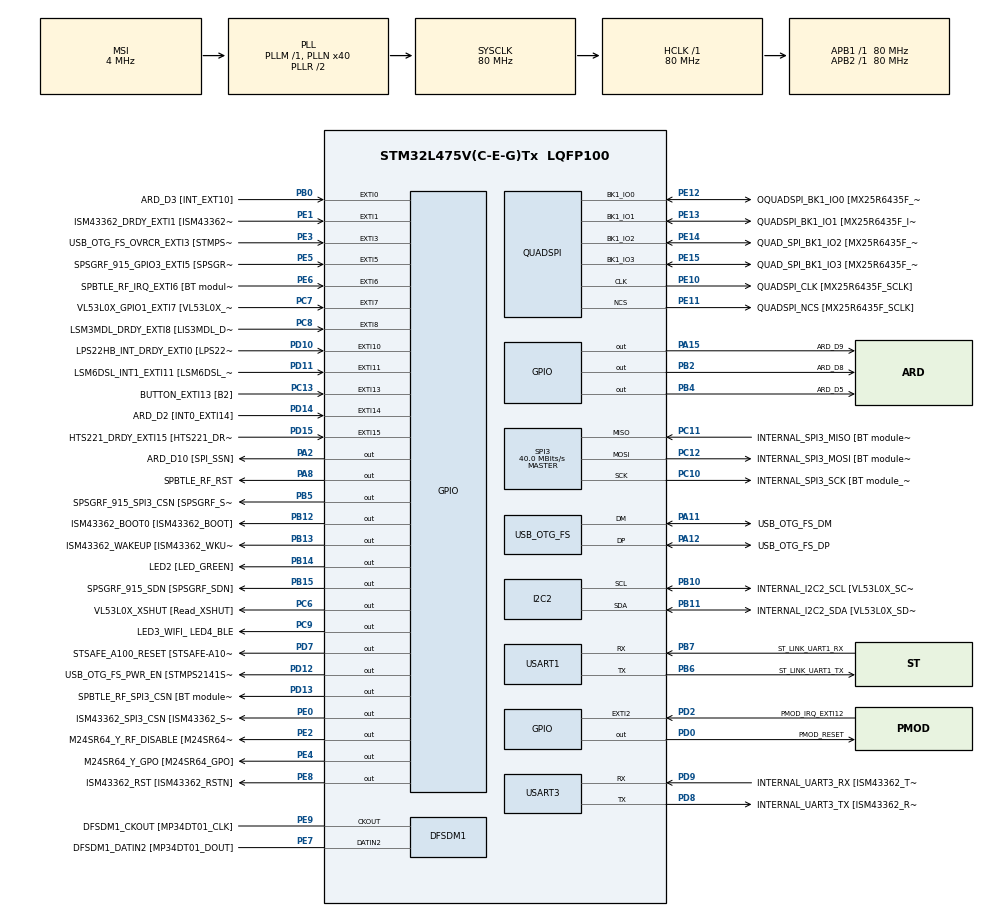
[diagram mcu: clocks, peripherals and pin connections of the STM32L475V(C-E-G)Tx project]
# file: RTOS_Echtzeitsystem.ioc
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Mcu.Family=STM32L4
Mcu.Name=STM32L475V(C-E-G)Tx
Mcu.Package=LQFP100
NVIC.EXTI15_10_IRQn=true\:0\:0\:false\:false\:true\:true\:true\:true
NVIC.EXTI9_5_IRQn=true\:0\:0\:false\:false\:true\:true\:true\:true
NVIC.PriorityGroup=NVIC_PRIORITYGROUP_4
PA0.GPIO_Label=ARD_D1 [UART4_TX]
PA0.Signal=UART4_TX
PA1.GPIO_Label=ARD_D0 [UART4_RX]
PA1.Signal=UART4_RX
PA10.GPIO_Label=USB_OTG_FS_ID
PA10.Signal=USB_OTG_FS_ID
PA11.GPIO_Label=USB_OTG_FS_DM
PA11.Mode=Device_Only
PA11.Signal=USB_OTG_FS_DM
PA12.GPIO_Label=USB_OTG_FS_DP
PA12.Mode=Device_Only
PA12.Signal=USB_OTG_FS_DP
PA13\ (JTMS-SWDIO).GPIO_Label=SYS_JTMS_SWDIO
PA13\ (JTMS-SWDIO).Mode=Serial_Wire
PA13\ (JTMS-SWDIO).Signal=SYS_JTMS-SWDIO
PA14\ (JTCK-SWCLK).GPIO_Label=SYS_JTCK_SWCLK
PA14\ (JTCK-SWCLK).Mode=Serial_Wire
PA14\ (JTCK-SWCLK).Signal=SYS_JTCK-SWCLK
PA15\ (JTDI).GPIO_Label=ARD_D9
PA15\ (JTDI).Signal=GPIO_Output
PA2.GPIO_Label=ARD_D10 [SPI_SSN]
PA2.Signal=GPIO_Output
PA3.GPIO_Label=ARD_D4
PA3.Signal=S_TIM2_CH4
PA4.GPIO_Label=ARD_D7
PA4.Signal=ADCx_IN9
PA5.GPIO_Label=ARD_D13 [SPI1_SCK]
PA5.Signal=SPI1_SCK
PA6.GPIO_Label=ARD_D12 [SPI1_MISO]
PA6.Signal=SPI1_MISO
PA7.GPIO_Label=ARD_D11 [SPI1_MOSI]
PA7.Signal=SPI1_MOSI
PA8.GPIO_Label=SPBTLE_RF_RST
PA8.Signal=GPIO_Output
PA9.GPIO_Label=USB_OTG_FS_VBUS [STMPS2141STR_OUT]
PA9.Signal=USB_OTG_FS_VBUS
PB0.GPIO_Label=ARD_D3 [INT_EXT10]
PB0.Signal=GPXTI0
PB1.GPIO_Label=ARD_D6 [ADC1_IN6]
PB1.Signal=ADCx_IN16
PB10.GPIO_Label=INTERNAL_I2C2_SCL [VL53L0X_SCL]
PB10.GPIO_Pu=GPIO_PULLUP
PB10.Mode=I2C
PB10.Signal=I2C2_SCL
PB11.GPIO_Label=INTERNAL_I2C2_SDA [VL53L0X_SDA]
PB11.GPIO_Pu=GPIO_PULLUP
PB11.Mode=I2C
PB11.Signal=I2C2_SDA
PB12.GPIO_Label=ISM43362_BOOT0 [ISM43362_BOOT]
PB12.Signal=GPIO_Output
PB13.GPIO_Label=ISM43362_WAKEUP [ISM43362_WKUP]
PB13.Signal=GPIO_Output
PB14.GPIO_Label=LED2 [LED_GREEN]
PB14.Signal=GPIO_Output
PB15.GPIO_Label=SPSGRF_915_SDN [SPSGRF_SDN]
PB15.Signal=GPIO_Output
PB2.GPIO_Label=ARD_D8
PB2.Signal=GPIO_Output
PB3\ (JTDO-TRACESWO).GPIO_Label=SYS_JTD0_SWO
PB3\ (JTDO-TRACESWO).Signal=SYS_JTDO-SWO
PB4\ (NJTRST).GPIO_Label=ARD_D5
PB4\ (NJTRST).Signal=GPIO_Output
PB5.GPIO_Label=SPSGRF_915_SPI3_CSN [SPSGRF_SPI_CS]
PB5.PinState=GPIO_PIN_SET
PB5.Signal=GPIO_Output
PB6.GPIO_Label=ST_LINK_UART1_TX
PB6.Mode=Asynchronous
PB6.Signal=USART1_TX
PB7.GPIO_Label=ST_LINK_UART1_RX
PB7.Mode=Asynchronous
PB7.Signal=USART1_RX
PB8.GPIO_Label=ARD_D15 [I2C1_SCL]
PB8.Signal=I2C1_SCL
PB9.GPIO_Label=ARD_D14 [I2C1_SDA]
PB9.Signal=I2C1_SDA
PC0.GPIO_Label=ARD_A5 [ADC]
PC0.Signal=ADCx_IN1
PC1.GPIO_Label=ARD_A4 [ADC]
PC1.Signal=ADCx_IN2
PC10.GPIO_Label=INTERNAL_SPI3_SCK [BT module_SPI_SCLK] [ISM43362_SCK]
PC10.Mode=Full_Duplex_Master
PC10.Signal=SPI3_SCK
PC11.GPIO_Label=INTERNAL_SPI3_MISO [BT module_SPI_MISO] [ISM43362_MISO]
PC11.Mode=Full_Duplex_Master
PC11.Signal=SPI3_MISO
PC12.GPIO_Label=INTERNAL_SPI3_MOSI [BT module_SPI_MOSI] [ISM43362_MOSI]
PC12.Mode=Full_Duplex_Master
PC12.Signal=SPI3_MOSI
PC13.GPIO_Label=BUTTON_EXTI13 [B2]
PC13.GPIO_ModeDefaultEXTI=GPIO_MODE_IT_FALLING
PC13.Signal=GPXTI13
PC14-OSC32_IN\ (PC14).Mode=LSE-External-Oscillator
PC14-OSC32_IN\ (PC14).Signal=RCC_OSC32_IN
PC15-OSC32_OUT\ (PC15).Mode=LSE-External-Oscillator
PC15-OSC32_OUT\ (PC15).Signal=RCC_OSC32_OUT
PC2.GPIO_Label=ARD_A3 [ADC]
PC2.Signal=ADCx_IN3
PC3.GPIO_Label=ARD_A2 [ADC]
PC3.Signal=ADCx_IN4
PC4.GPIO_Label=ARD_A1 [ADC]
PC4.Signal=ADCx_IN13
PC5.GPIO_Label=ARD_A0 [ADC]
PC5.Signal=ADCx_IN14
PC6.GPIO_Label=VL53L0X_XSHUT [Read_XSHUT]
PC6.Signal=GPIO_Output
PC7.GPIO_Label=VL53L0X_GPIO1_EXTI7 [VL53L0X_GPIO1]
PC7.Signal=GPXTI7
PC8.GPIO_Label=LSM3MDL_DRDY_EXTI8 [LIS3MDL_DRDY]
PC8.Signal=GPXTI8
PC9.GPIO_Label=LED3_WIFI_ LED4_BLE
PC9.Signal=GPIO_Output
PD0.GPIO_Label=PMOD_RESET
PD0.Signal=GPIO_Output
PD1.GPIO_Label=PMOD_SPI2_SCK
PD1.Signal=SPI2_SCK
PD10.GPIO_Label=LPS22HB_INT_DRDY_EXTI0 [LPS22HB_INT_DRDY] 
PD10.Signal=GPXTI10
PD11.GPIO_Label=LSM6DSL_INT1_EXTI11 [LSM6DSL_INT1]
PD11.Signal=GPXTI11
PD12.GPIO_Label=USB_OTG_FS_PWR_EN [STMPS2141STR_EN]
PD12.Signal=GPIO_Output
PD13.GPIO_Label=SPBTLE_RF_SPI3_CSN [BT module_SPI_CS]
PD13.PinState=GPIO_PIN_SET
PD13.Signal=GPIO_Output
PD14.GPIO_Label=ARD_D2 [INT0_EXTI14]
PD14.Signal=GPXTI14
PD15.GPIO_Label=HTS221_DRDY_EXTI15 [HTS221_DRDY]
PD15.Signal=GPXTI15
PD2.GPIO_Label=PMOD_IRQ_EXTI12
PD2.Signal=GPXTI2
PD3.GPIO_Label=PMOD_UART2_CTS
PD3.Signal=USART2_CTS
PD4.GPIO_Label=PMOD_UART2_RTS
PD4.Signal=USART2_RTS
PD5.GPIO_Label=PMOD_UART2_TX
PD5.Signal=USART2_TX
PD6.GPIO_Label=PMOD_UART2_RX
PD6.Signal=USART2_RX
PD7.GPIO_Label=STSAFE_A100_RESET [STSAFE-A100_RESET]
PD7.Signal=GPIO_Output
PD8.GPIO_Label=INTERNAL_UART3_TX [ISM43362_RX]
PD8.Mode=Asynchronous
PD8.Signal=USART3_TX
PD9.GPIO_Label=INTERNAL_UART3_RX [ISM43362_TX]
PD9.Mode=Asynchronous
PD9.Signal=USART3_RX
PE0.GPIO_Label=ISM43362_SPI3_CSN [ISM43362_SSN]
PE0.PinState=GPIO_PIN_SET
PE0.Signal=GPIO_Output
PE1.GPIO_Label=ISM43362_DRDY_EXTI1 [ISM43362_DATARDY]
PE1.Signal=GPXTI1
PE10.GPIO_Label=QUADSPI_CLK [MX25R6435F_SCLK]
PE10.Mode=Single Bank
PE10.Signal=QUADSPI_CLK
PE11.GPIO_Label=QUADSPI_NCS [MX25R6435F_SCLK]
PE11.Mode=Single Bank
PE11.Signal=QUADSPI_NCS
PE12.GPIO_Label=OQUADSPI_BK1_IO0 [MX25R6435F_IO0]
PE12.Mode=Single Bank
PE12.Signal=QUADSPI_BK1_IO0
PE13.GPIO_Label=QUADSPI_BK1_IO1 [MX25R6435F_IO1]
PE13.Mode=Single Bank
PE13.Signal=QUADSPI_BK1_IO1
PE14.GPIO_Label=QUAD_SPI_BK1_IO2 [MX25R6435F_IO2]
PE14.Mode=Single Bank
PE14.Signal=QUADSPI_BK1_IO2
PE15.GPIO_Label=QUAD_SPI_BK1_IO3 [MX25R6435F_IO3]
PE15.Mode=Single Bank
PE15.Signal=QUADSPI_BK1_IO3
PE2.GPIO_Label=M24SR64_Y_RF_DISABLE [M24SR64_RFDIS]
PE2.Signal=GPIO_Output
PE3.GPIO_Label=USB_OTG_FS_OVRCR_EXTI3 [STMPS2141STR_FAULT]
PE3.Signal=GPXTI3
PE4.GPIO_Label=M24SR64_Y_GPO [M24SR64_GPO]
PE4.Signal=GPIO_Output
PE5.GPIO_Label=SPSGRF_915_GPIO3_EXTI5 [SPSGRF_GPIO_3]
PE5.Signal=GPXTI5
PE6.GPIO_Label=SPBTLE_RF_IRQ_EXTI6 [BT module_SPI_IRQ]
PE6.Signal=GPXTI6
PE7.GPIO_Label=DFSDM1_DATIN2 [MP34DT01_DOUT]
PE7.Signal=S_DATAIN2DFSDM1
PE8.GPIO_Label=ISM43362_RST [ISM43362_RSTN]
PE8.Signal=GPIO_Output
PE9.GPIO_Label=DFSDM1_CKOUT [MP34DT01_CLK]
PE9.Signal=S_CKOUTDFSDM1
ProjectManager.HeapSize=0x200
ProjectManager.StackSize=0x400
ProjectManager.TargetToolchain=STM32CubeIDE
QUADSPI.ClockPrescaler=2
QUADSPI.FifoThreshold=4
QUADSPI.FlashSize=23
QUADSPI.SampleShifting=QSPI_SAMPLE_SHIFTING_HALFCYCLE
RCC.ADCFreq_Value=48000000
RCC.AHBFreq_Value=80000000
RCC.APB1Freq_Value=80000000
RCC.APB1TimFreq_Value=80000000
RCC.APB2Freq_Value=80000000
RCC.APB2TimFreq_Value=80000000
RCC.CortexFreq_Value=80000000
RCC.HCLKFreq_Value=80000000
RCC.HSE_VALUE=8000000
RCC.HSI_VALUE=16000000
RCC.MSI_VALUE=4000000
RCC.PLLN=40
RCC.PLLSAI1N=24
RCC.SYSCLKFreq_VALUE=80000000
RCC.SYSCLKSource=RCC_SYSCLKSOURCE_PLLCLK
RCC.USBFreq_Value=48000000
RCC.VCOOutputFreq_Value=160000000
SH.ADCx_IN1.0=ADC1_IN1
SH.ADCx_IN13.0=ADC1_IN13
SH.ADCx_IN14.0=ADC1_IN14
SH.ADCx_IN16.0=ADC1_IN16
SH.ADCx_IN2.0=ADC1_IN2
SH.ADCx_IN3.0=ADC1_IN3
SH.ADCx_IN4.0=ADC1_IN4
SH.ADCx_IN9.0=ADC1_IN9
SH.S_CKOUTDFSDM1.0=DFSDM1_CKOUT,CKOUT
SH.S_CKOUTDFSDM1.1=DFSDM1_CKOUT,PDM_SPI_Input_from_ch12_and_Internal_Clock
SH.S_DATAIN2DFSDM1.0=DFSDM1_DATIN2,PDM_SPI_Input_from_ch12_and_Internal_Clock
SH.S_TIM2_CH4.0=TIM2_CH4
SPI3.CalculateBaudRate=40.0 MBits/s
SPI3.Direction=SPI_DIRECTION_2LINES
SPI3.Mode=SPI_MODE_MASTER
SPI3.VirtualType=VM_MASTER
USART1.VirtualMode-Asynchronous=VM_ASYNC
USART3.VirtualMode-Asynchronous=VM_ASYNC
USB_OTG_FS.VirtualMode=Device_Only
board=B-L475E-IOT01A1

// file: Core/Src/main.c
/* USER CODE BEGIN Header */
/**
  ******************************************************************************
  * @file           : main.c
  * @brief          : Main program body
  ******************************************************************************
  * @attention
  *
  * Copyright (c) 2026 STMicroelectronics.
  * All rights reserved.
  *
  * This software is licensed under terms that can be found in the LICENSE file
  * in the root directory of this software component.
  * If no LICENSE file comes with this software, it is provided AS-IS.
  *
  ******************************************************************************
  */
/* USER CODE END Header */
#include "main.h"

/* USER CODE BEGIN Includes */
#include "stm32l4xx.h"
#include "os_kernel.h"
#include "tcb.h"
#include "Mutex_and_Semaphoren.h"
#include"MessageQueue.h"
#include "os_sync.h"
/* USER CODE END Includes */

uint32_t MAX_TASKS = 3;

DFSDM_Channel_HandleTypeDef hdfsdm1_channel1;

I2C_HandleTypeDef hi2c2;

QSPI_HandleTypeDef hqspi;

SPI_HandleTypeDef hspi3;

UART_HandleTypeDef huart1;
UART_HandleTypeDef huart3;

PCD_HandleTypeDef hpcd_USB_OTG_FS;

void SystemClock_Config(void);
static void MX_GPIO_Init(void);
static void MX_DFSDM1_Init(void);
static void MX_I2C2_Init(void);
static void MX_QUADSPI_Init(void);
static void MX_SPI3_Init(void);
static void MX_USART1_UART_Init(void);
static void MX_USART3_UART_Init(void);
//static void MX_USB_OTG_FS_PCD_Init(void);

/* USER CODE BEGIN 0 */
// --- TASK 1: Grüne LED ---
void Task_BlinkGreen(){
	while(1){
		HAL_GPIO_TogglePin(GPIOB,GPIO_PIN_14);
		OS_Delay(2000); // Non-Blocking

		//for(volatile uint32_t i = 0; i < 500000; i++) {}   // Es dient zur Wartezeit ( Blocking)
	}
}

// --- TASK 2: Orange LED ---
void Task_BlinkRed(){
	while(1){
		HAL_GPIO_TogglePin(GPIOC, GPIO_PIN_9);
		OS_Delay(5000);    // Non-Blocking
		//for(volatile uint32_t i = 0; i < 500000; i++) {}
	}
}
// --- IDLE Task ---
void Task_Idle(void) {
    while(1) {
    	__WFI(); // Wait for Interrupt
    }
}

/* USER CODE END 0 */

int main(void)
{

  /* MCU Configuration--------------------------------------------------------*/

  /* Reset of all peripherals, Initializes the Flash interface and the Systick. */
  HAL_Init();

  /* Configure the system clock */
  SystemClock_Config();

  /* Initialize all configured peripherals */
  MX_GPIO_Init();
  MX_DFSDM1_Init();
  MX_I2C2_Init();
  MX_QUADSPI_Init();
  MX_SPI3_Init();
  MX_USART1_UART_Init();
  MX_USART3_UART_Init();
  //MX_USB_OTG_FS_PCD_Init();
  /* USER CODE BEGIN 2 */
  //Tasks beim Betriebssystem anmelden, Priorität und TaskId angeben
  	  OS_TaskCreate(Task_BlinkGreen, 0, 0);
  	  OS_TaskCreate(Task_BlinkRed, 0, 1);

      OS_TaskCreate(Task_Idle, 255, MAX_TASKS-1);

      // Kernel starten
        OS_KernelStart();

  /* USER CODE END 2 */

  /* Infinite loop */
  while (1)
  {

  }
}

void SystemClock_Config(void)
{
  RCC_OscInitTypeDef RCC_OscInitStruct = {0};
  RCC_ClkInitTypeDef RCC_ClkInitStruct = {0};

  /** Configure the main internal regulator output voltage
  */
  if (HAL_PWREx_ControlVoltageScaling(PWR_REGULATOR_VOLTAGE_SCALE1) != HAL_OK)
  {
    Error_Handler();
  }

  /** Configure LSE Drive Capability
  */
  HAL_PWR_EnableBkUpAccess();
  __HAL_RCC_LSEDRIVE_CONFIG(RCC_LSEDRIVE_LOW);

  /** Initializes the RCC Oscillators according to the specified parameters
  * in the RCC_OscInitTypeDef structure.
  */
  RCC_OscInitStruct.OscillatorType = RCC_OSCILLATORTYPE_LSE|RCC_OSCILLATORTYPE_MSI;
  RCC_OscInitStruct.LSEState = RCC_LSE_ON;
  RCC_OscInitStruct.MSIState = RCC_MSI_ON;
  RCC_OscInitStruct.MSICalibrationValue = 0;
  RCC_OscInitStruct.MSIClockRange = RCC_MSIRANGE_6;
  RCC_OscInitStruct.PLL.PLLState = RCC_PLL_ON;
  RCC_OscInitStruct.PLL.PLLSource = RCC_PLLSOURCE_MSI;
  RCC_OscInitStruct.PLL.PLLM = 1;
  RCC_OscInitStruct.PLL.PLLN = 40;
  RCC_OscInitStruct.PLL.PLLP = RCC_PLLP_DIV7;
  RCC_OscInitStruct.PLL.PLLQ = RCC_PLLQ_DIV2;
  RCC_OscInitStruct.PLL.PLLR = RCC_PLLR_DIV2;
  if (HAL_RCC_OscConfig(&RCC_OscInitStruct) != HAL_OK)
  {
    Error_Handler();
  }

  /** Initializes the CPU, AHB and APB buses clocks
  */
  RCC_ClkInitStruct.ClockType = RCC_CLOCKTYPE_HCLK|RCC_CLOCKTYPE_SYSCLK
                              |RCC_CLOCKTYPE_PCLK1|RCC_CLOCKTYPE_PCLK2;
  RCC_ClkInitStruct.SYSCLKSource = RCC_SYSCLKSOURCE_PLLCLK;
  RCC_ClkInitStruct.AHBCLKDivider = RCC_SYSCLK_DIV1;
  RCC_ClkInitStruct.APB1CLKDivider = RCC_HCLK_DIV1;
  RCC_ClkInitStruct.APB2CLKDivider = RCC_HCLK_DIV1;

  if (HAL_RCC_ClockConfig(&RCC_ClkInitStruct, FLASH_LATENCY_4) != HAL_OK)
  {
    Error_Handler();
  }

  /** Enable MSI Auto calibration
  */
  HAL_RCCEx_EnableMSIPLLMode();
}

static void MX_DFSDM1_Init(void)
{

  hdfsdm1_channel1.Instance = DFSDM1_Channel1;
  hdfsdm1_channel1.Init.OutputClock.Activation = ENABLE;
  hdfsdm1_channel1.Init.OutputClock.Selection = DFSDM_CHANNEL_OUTPUT_CLOCK_SYSTEM;
  hdfsdm1_channel1.Init.OutputClock.Divider = 2;
  hdfsdm1_channel1.Init.Input.Multiplexer = DFSDM_CHANNEL_EXTERNAL_INPUTS;
  hdfsdm1_channel1.Init.Input.DataPacking = DFSDM_CHANNEL_STANDARD_MODE;
  hdfsdm1_channel1.Init.Input.Pins = DFSDM_CHANNEL_FOLLOWING_CHANNEL_PINS;
  hdfsdm1_channel1.Init.SerialInterface.Type = DFSDM_CHANNEL_SPI_RISING;
  hdfsdm1_channel1.Init.SerialInterface.SpiClock = DFSDM_CHANNEL_SPI_CLOCK_INTERNAL;
  hdfsdm1_channel1.Init.Awd.FilterOrder = DFSDM_CHANNEL_FASTSINC_ORDER;
  hdfsdm1_channel1.Init.Awd.Oversampling = 1;
  hdfsdm1_channel1.Init.Offset = 0;
  hdfsdm1_channel1.Init.RightBitShift = 0x00;
  if (HAL_DFSDM_ChannelInit(&hdfsdm1_channel1) != HAL_OK)
  {
    Error_Handler();
  }

}

static void MX_I2C2_Init(void)
{

  hi2c2.Instance = I2C2;
  hi2c2.Init.Timing = 0x00000E14;
  hi2c2.Init.OwnAddress1 = 0;
  hi2c2.Init.AddressingMode = I2C_ADDRESSINGMODE_7BIT;
  hi2c2.Init.DualAddressMode = I2C_DUALADDRESS_DISABLE;
  hi2c2.Init.OwnAddress2 = 0;
  hi2c2.Init.OwnAddress2Masks = I2C_OA2_NOMASK;
  hi2c2.Init.GeneralCallMode = I2C_GENERALCALL_DISABLE;
  hi2c2.Init.NoStretchMode = I2C_NOSTRETCH_DISABLE;
  if (HAL_I2C_Init(&hi2c2) != HAL_OK)
  {
    Error_Handler();
  }

  /** Configure Analogue filter
  */
  if (HAL_I2CEx_ConfigAnalogFilter(&hi2c2, I2C_ANALOGFILTER_ENABLE) != HAL_OK)
  {
    Error_Handler();
  }

  /** Configure Digital filter
  */
  if (HAL_I2CEx_ConfigDigitalFilter(&hi2c2, 0) != HAL_OK)
  {
    Error_Handler();
  }

}

static void MX_QUADSPI_Init(void)
{

  /* QUADSPI parameter configuration*/
  hqspi.Instance = QUADSPI;
  hqspi.Init.ClockPrescaler = 2;
  hqspi.Init.FifoThreshold = 4;
  hqspi.Init.SampleShifting = QSPI_SAMPLE_SHIFTING_HALFCYCLE;
  hqspi.Init.FlashSize = 23;
  hqspi.Init.ChipSelectHighTime = QSPI_CS_HIGH_TIME_1_CYCLE;
  hqspi.Init.ClockMode = QSPI_CLOCK_MODE_0;
  if (HAL_QSPI_Init(&hqspi) != HAL_OK)
  {
    Error_Handler();
  }

}

static void MX_SPI3_Init(void)
{

  /* SPI3 parameter configuration*/
  hspi3.Instance = SPI3;
  hspi3.Init.Mode = SPI_MODE_MASTER;
  hspi3.Init.Direction = SPI_DIRECTION_2LINES;
  hspi3.Init.DataSize = SPI_DATASIZE_4BIT;
  hspi3.Init.CLKPolarity = SPI_POLARITY_LOW;
  hspi3.Init.CLKPhase = SPI_PHASE_1EDGE;
  hspi3.Init.NSS = SPI_NSS_SOFT;
  hspi3.Init.BaudRatePrescaler = SPI_BAUDRATEPRESCALER_2;
  hspi3.Init.FirstBit = SPI_FIRSTBIT_MSB;
  hspi3.Init.TIMode = SPI_TIMODE_DISABLE;
  hspi3.Init.CRCCalculation = SPI_CRCCALCULATION_DISABLE;
  hspi3.Init.CRCPolynomial = 7;
  hspi3.Init.CRCLength = SPI_CRC_LENGTH_DATASIZE;
  hspi3.Init.NSSPMode = SPI_NSS_PULSE_ENABLE;
  if (HAL_SPI_Init(&hspi3) != HAL_OK)
  {
    Error_Handler();
  }

}

static void MX_USART1_UART_Init(void)
{

  huart1.Instance = USART1;
  huart1.Init.BaudRate = 115200;
  huart1.Init.WordLength = UART_WORDLENGTH_8B;
  huart1.Init.StopBits = UART_STOPBITS_1;
  huart1.Init.Parity = UART_PARITY_NONE;
  huart1.Init.Mode = UART_MODE_TX_RX;
  huart1.Init.HwFlowCtl = UART_HWCONTROL_NONE;
  huart1.Init.OverSampling = UART_OVERSAMPLING_16;
  huart1.Init.OneBitSampling = UART_ONE_BIT_SAMPLE_DISABLE;
  huart1.AdvancedInit.AdvFeatureInit = UART_ADVFEATURE_NO_INIT;
  if (HAL_UART_Init(&huart1) != HAL_OK)
  {
    Error_Handler();
  }

}

static void MX_USART3_UART_Init(void)
{

  huart3.Instance = USART3;
  huart3.Init.BaudRate = 115200;
  huart3.Init.WordLength = UART_WORDLENGTH_8B;
  huart3.Init.StopBits = UART_STOPBITS_1;
  huart3.Init.Parity = UART_PARITY_NONE;
  huart3.Init.Mode = UART_MODE_TX_RX;
  huart3.Init.HwFlowCtl = UART_HWCONTROL_NONE;
  huart3.Init.OverSampling = UART_OVERSAMPLING_16;
  huart3.Init.OneBitSampling = UART_ONE_BIT_SAMPLE_DISABLE;
  huart3.AdvancedInit.AdvFeatureInit = UART_ADVFEATURE_NO_INIT;
  if (HAL_UART_Init(&huart3) != HAL_OK)
  {
    Error_Handler();
  }

}

//static void MX_USB_OTG_FS_PCD_Init(void)
//{
//
//  /* USER CODE BEGIN USB_OTG_FS_Init 0 */
//
//  /* USER CODE END USB_OTG_FS_Init 0 */
//
//  /* USER CODE BEGIN USB_OTG_FS_Init 1 */
//
//  /* USER CODE END USB_OTG_FS_Init 1 */
//  hpcd_USB_OTG_FS.Instance = USB_OTG_FS;
//  hpcd_USB_OTG_FS.Init.dev_endpoints = 6;
//  hpcd_USB_OTG_FS.Init.speed = PCD_SPEED_FULL;
//  hpcd_USB_OTG_FS.Init.phy_itface = PCD_PHY_EMBEDDED;
//  hpcd_USB_OTG_FS.Init.Sof_enable = DISABLE;
//  hpcd_USB_OTG_FS.Init.low_power_enable = DISABLE;
//  hpcd_USB_OTG_FS.Init.lpm_enable = DISABLE;
//  hpcd_USB_OTG_FS.Init.battery_charging_enable = DISABLE;
//  hpcd_USB_OTG_FS.Init.use_dedicated_ep1 = DISABLE;
//  hpcd_USB_OTG_FS.Init.vbus_sensing_enable = DISABLE;
//  if (HAL_PCD_Init(&hpcd_USB_OTG_FS) != HAL_OK)
//  {
//    Error_Handler();
//  }
//  /* USER CODE BEGIN USB_OTG_FS_Init 2 */
//
//  /* USER CODE END USB_OTG_FS_Init 2 */
//
//}

static void MX_GPIO_Init(void)
{
  GPIO_InitTypeDef GPIO_InitStruct = {0};

  /* GPIO Ports Clock Enable */
  __HAL_RCC_GPIOE_CLK_ENABLE();
  __HAL_RCC_GPIOC_CLK_ENABLE();
  __HAL_RCC_GPIOA_CLK_ENABLE();
  __HAL_RCC_GPIOB_CLK_ENABLE();
  __HAL_RCC_GPIOD_CLK_ENABLE();

  /*Configure GPIO pin Output Level */
  HAL_GPIO_WritePin(GPIOE, M24SR64_Y_RF_DISABLE_Pin|M24SR64_Y_GPO_Pin|ISM43362_RST_Pin, GPIO_PIN_RESET);

  /*Configure GPIO pin Output Level */
  HAL_GPIO_WritePin(GPIOA, ARD_D10_Pin|SPBTLE_RF_RST_Pin|ARD_D9_Pin, GPIO_PIN_RESET);

  /*Configure GPIO pin Output Level */
  HAL_GPIO_WritePin(GPIOB, ARD_D8_Pin|ISM43362_BOOT0_Pin|ISM43362_WAKEUP_Pin|LED2_Pin
                          |SPSGRF_915_SDN_Pin|ARD_D5_Pin, GPIO_PIN_RESET);

  /*Configure GPIO pin Output Level */
  HAL_GPIO_WritePin(GPIOD, USB_OTG_FS_PWR_EN_Pin|PMOD_RESET_Pin|STSAFE_A100_RESET_Pin, GPIO_PIN_RESET);

  /*Configure GPIO pin Output Level */
  HAL_GPIO_WritePin(SPBTLE_RF_SPI3_CSN_GPIO_Port, SPBTLE_RF_SPI3_CSN_Pin, GPIO_PIN_SET);

  /*Configure GPIO pin Output Level */
  HAL_GPIO_WritePin(GPIOC, VL53L0X_XSHUT_Pin|LED3_WIFI__LED4_BLE_Pin, GPIO_PIN_RESET);

  /*Configure GPIO pin Output Level */
  HAL_GPIO_WritePin(SPSGRF_915_SPI3_CSN_GPIO_Port, SPSGRF_915_SPI3_CSN_Pin, GPIO_PIN_SET);

  /*Configure GPIO pin Output Level */
  HAL_GPIO_WritePin(ISM43362_SPI3_CSN_GPIO_Port, ISM43362_SPI3_CSN_Pin, GPIO_PIN_SET);

  /*Configure GPIO pins : M24SR64_Y_RF_DISABLE_Pin M24SR64_Y_GPO_Pin ISM43362_RST_Pin ISM43362_SPI3_CSN_Pin */
  GPIO_InitStruct.Pin = M24SR64_Y_RF_DISABLE_Pin|M24SR64_Y_GPO_Pin|ISM43362_RST_Pin|ISM43362_SPI3_CSN_Pin;
  GPIO_InitStruct.Mode = GPIO_MODE_OUTPUT_PP;
  GPIO_InitStruct.Pull = GPIO_NOPULL;
  GPIO_InitStruct.Speed = GPIO_SPEED_FREQ_LOW;
  HAL_GPIO_Init(GPIOE, &GPIO_InitStruct);

  /*Configure GPIO pins : USB_OTG_FS_OVRCR_EXTI3_Pin SPSGRF_915_GPIO3_EXTI5_Pin SPBTLE_RF_IRQ_EXTI6_Pin ISM43362_DRDY_EXTI1_Pin */
  GPIO_InitStruct.Pin = USB_OTG_FS_OVRCR_EXTI3_Pin|SPSGRF_915_GPIO3_EXTI5_Pin|SPBTLE_RF_IRQ_EXTI6_Pin|ISM43362_DRDY_EXTI1_Pin;
  GPIO_InitStruct.Mode = GPIO_MODE_IT_RISING;
  GPIO_InitStruct.Pull = GPIO_NOPULL;
  HAL_GPIO_Init(GPIOE, &GPIO_InitStruct);

  /*Configure GPIO pin : BUTTON_EXTI13_Pin */
  GPIO_InitStruct.Pin = BUTTON_EXTI13_Pin;
  GPIO_InitStruct.Mode = GPIO_MODE_IT_FALLING;
  GPIO_InitStruct.Pull = GPIO_NOPULL;
  HAL_GPIO_Init(BUTTON_EXTI13_GPIO_Port, &GPIO_InitStruct);

  /*Configure GPIO pins : ARD_A5_Pin ARD_A4_Pin ARD_A3_Pin ARD_A2_Pin
                           ARD_A1_Pin ARD_A0_Pin */
  GPIO_InitStruct.Pin = ARD_A5_Pin|ARD_A4_Pin|ARD_A3_Pin|ARD_A2_Pin
                          |ARD_A1_Pin|ARD_A0_Pin;
  GPIO_InitStruct.Mode = GPIO_MODE_ANALOG_ADC_CONTROL;
  GPIO_InitStruct.Pull = GPIO_NOPULL;
  HAL_GPIO_Init(GPIOC, &GPIO_InitStruct);

  /*Configure GPIO pins : ARD_D1_Pin ARD_D0_Pin */
  GPIO_InitStruct.Pin = ARD_D1_Pin|ARD_D0_Pin;
  GPIO_InitStruct.Mode = GPIO_MODE_AF_PP;
  GPIO_InitStruct.Pull = GPIO_NOPULL;
  GPIO_InitStruct.Speed = GPIO_SPEED_FREQ_VERY_HIGH;
  GPIO_InitStruct.Alternate = GPIO_AF8_UART4;
  HAL_GPIO_Init(GPIOA, &GPIO_InitStruct);

  /*Configure GPIO pins : ARD_D10_Pin SPBTLE_RF_RST_Pin ARD_D9_Pin */
  GPIO_InitStruct.Pin = ARD_D10_Pin|SPBTLE_RF_RST_Pin|ARD_D9_Pin;
  GPIO_InitStruct.Mode = GPIO_MODE_OUTPUT_PP;
  GPIO_InitStruct.Pull = GPIO_NOPULL;
  GPIO_InitStruct.Speed = GPIO_SPEED_FREQ_LOW;
  HAL_GPIO_Init(GPIOA, &GPIO_InitStruct);

  /*Configure GPIO pin : ARD_D4_Pin */
  GPIO_InitStruct.Pin = ARD_D4_Pin;
  GPIO_InitStruct.Mode = GPIO_MODE_AF_PP;
  GPIO_InitStruct.Pull = GPIO_NOPULL;
  GPIO_InitStruct.Speed = GPIO_SPEED_FREQ_LOW;
  GPIO_InitStruct.Alternate = GPIO_AF1_TIM2;
  HAL_GPIO_Init(ARD_D4_GPIO_Port, &GPIO_InitStruct);

  /*Configure GPIO pin : ARD_D7_Pin */
  GPIO_InitStruct.Pin = ARD_D7_Pin;
  GPIO_InitStruct.Mode = GPIO_MODE_ANALOG_ADC_CONTROL;
  GPIO_InitStruct.Pull = GPIO_NOPULL;
  HAL_GPIO_Init(ARD_D7_GPIO_Port, &GPIO_InitStruct);

  /*Configure GPIO pins : ARD_D13_Pin ARD_D12_Pin ARD_D11_Pin */
  GPIO_InitStruct.Pin = ARD_D13_Pin|ARD_D12_Pin|ARD_D11_Pin;
  GPIO_InitStruct.Mode = GPIO_MODE_AF_PP;
  GPIO_InitStruct.Pull = GPIO_NOPULL;
  GPIO_InitStruct.Speed = GPIO_SPEED_FREQ_VERY_HIGH;
  GPIO_InitStruct.Alternate = GPIO_AF5_SPI1;
  HAL_GPIO_Init(GPIOA, &GPIO_InitStruct);

  /*Configure GPIO pin : ARD_D3_Pin */
  GPIO_InitStruct.Pin = ARD_D3_Pin;
  GPIO_InitStruct.Mode = GPIO_MODE_IT_RISING;
  GPIO_InitStruct.Pull = GPIO_NOPULL;
  HAL_GPIO_Init(ARD_D3_GPIO_Port, &GPIO_InitStruct);

  /*Configure GPIO pin : ARD_D6_Pin */
  GPIO_InitStruct.Pin = ARD_D6_Pin;
  GPIO_InitStruct.Mode = GPIO_MODE_ANALOG_ADC_CONTROL;
  GPIO_InitStruct.Pull = GPIO_NOPULL;
  HAL_GPIO_Init(ARD_D6_GPIO_Port, &GPIO_InitStruct);

  /*Configure GPIO pins : ARD_D8_Pin ISM43362_BOOT0_Pin ISM43362_WAKEUP_Pin LED2_Pin
                           SPSGRF_915_SDN_Pin ARD_D5_Pin SPSGRF_915_SPI3_CSN_Pin */
  GPIO_InitStruct.Pin = ARD_D8_Pin|ISM43362_BOOT0_Pin|ISM43362_WAKEUP_Pin|LED2_Pin
                          |SPSGRF_915_SDN_Pin|ARD_D5_Pin|SPSGRF_915_SPI3_CSN_Pin;
  GPIO_InitStruct.Mode = GPIO_MODE_OUTPUT_PP;
  GPIO_InitStruct.Pull = GPIO_NOPULL;
  GPIO_InitStruct.Speed = GPIO_SPEED_FREQ_LOW;
  HAL_GPIO_Init(GPIOB, &GPIO_InitStruct);

  /*Configure GPIO pins : LPS22HB_INT_DRDY_EXTI0_Pin LSM6DSL_INT1_EXTI11_Pin ARD_D2_Pin HTS221_DRDY_EXTI15_Pin
                           PMOD_IRQ_EXTI12_Pin */
  GPIO_InitStruct.Pin = LPS22HB_INT_DRDY_EXTI0_Pin|LSM6DSL_INT1_EXTI11_Pin|ARD_D2_Pin|HTS221_DRDY_EXTI15_Pin
                          |PMOD_IRQ_EXTI12_Pin;
  GPIO_InitStruct.Mode = GPIO_MODE_IT_RISING;
  GPIO_InitStruct.Pull = GPIO_NOPULL;
  HAL_GPIO_Init(GPIOD, &GPIO_InitStruct);

  /*Configure GPIO pins : USB_OTG_FS_PWR_EN_Pin SPBTLE_RF_SPI3_CSN_Pin PMOD_RESET_Pin STSAFE_A100_RESET_Pin */
  GPIO_InitStruct.Pin = USB_OTG_FS_PWR_EN_Pin|SPBTLE_RF_SPI3_CSN_Pin|PMOD_RESET_Pin|STSAFE_A100_RESET_Pin;
  GPIO_InitStruct.Mode = GPIO_MODE_OUTPUT_PP;
  GPIO_InitStruct.Pull = GPIO_NOPULL;
  GPIO_InitStruct.Speed = GPIO_SPEED_FREQ_LOW;
  HAL_GPIO_Init(GPIOD, &GPIO_InitStruct);

  /*Configure GPIO pins : VL53L0X_XSHUT_Pin LED3_WIFI__LED4_BLE_Pin */
  GPIO_InitStruct.Pin = VL53L0X_XSHUT_Pin|LED3_WIFI__LED4_BLE_Pin;
  GPIO_InitStruct.Mode = GPIO_MODE_OUTPUT_PP;
  GPIO_InitStruct.Pull = GPIO_NOPULL;
  GPIO_InitStruct.Speed = GPIO_SPEED_FREQ_LOW;
  HAL_GPIO_Init(GPIOC, &GPIO_InitStruct);

  /*Configure GPIO pins : VL53L0X_GPIO1_EXTI7_Pin LSM3MDL_DRDY_EXTI8_Pin */
  GPIO_InitStruct.Pin = VL53L0X_GPIO1_EXTI7_Pin|LSM3MDL_DRDY_EXTI8_Pin;
  GPIO_InitStruct.Mode = GPIO_MODE_IT_RISING;
  GPIO_InitStruct.Pull = GPIO_NOPULL;
  HAL_GPIO_Init(GPIOC, &GPIO_InitStruct);

  /*Configure GPIO pin : PMOD_SPI2_SCK_Pin */
  GPIO_InitStruct.Pin = PMOD_SPI2_SCK_Pin;
  GPIO_InitStruct.Mode = GPIO_MODE_AF_PP;
  GPIO_InitStruct.Pull = GPIO_NOPULL;
  GPIO_InitStruct.Speed = GPIO_SPEED_FREQ_VERY_HIGH;
  GPIO_InitStruct.Alternate = GPIO_AF5_SPI2;
  HAL_GPIO_Init(PMOD_SPI2_SCK_GPIO_Port, &GPIO_InitStruct);

  /*Configure GPIO pins : PMOD_UART2_CTS_Pin PMOD_UART2_RTS_Pin PMOD_UART2_TX_Pin PMOD_UART2_RX_Pin */
  GPIO_InitStruct.Pin = PMOD_UART2_CTS_Pin|PMOD_UART2_RTS_Pin|PMOD_UART2_TX_Pin|PMOD_UART2_RX_Pin;
  GPIO_InitStruct.Mode = GPIO_MODE_AF_PP;
  GPIO_InitStruct.Pull = GPIO_NOPULL;
  GPIO_InitStruct.Speed = GPIO_SPEED_FREQ_VERY_HIGH;
  GPIO_InitStruct.Alternate = GPIO_AF7_USART2;
  HAL_GPIO_Init(GPIOD, &GPIO_InitStruct);

  /*Configure GPIO pins : ARD_D15_Pin ARD_D14_Pin */
  GPIO_InitStruct.Pin = ARD_D15_Pin|ARD_D14_Pin;
  GPIO_InitStruct.Mode = GPIO_MODE_AF_OD;
  GPIO_InitStruct.Pull = GPIO_NOPULL;
  GPIO_InitStruct.Speed = GPIO_SPEED_FREQ_VERY_HIGH;
  GPIO_InitStruct.Alternate = GPIO_AF4_I2C1;
  HAL_GPIO_Init(GPIOB, &GPIO_InitStruct);

  /* EXTI interrupt init*/
  HAL_NVIC_SetPriority(EXTI9_5_IRQn, 0, 0);
  HAL_NVIC_EnableIRQ(EXTI9_5_IRQn);

  HAL_NVIC_SetPriority(EXTI15_10_IRQn, 0, 0);
  HAL_NVIC_EnableIRQ(EXTI15_10_IRQn);

}

void Error_Handler(void)
{
  __disable_irq();
  while (1)
  {
  }
}
